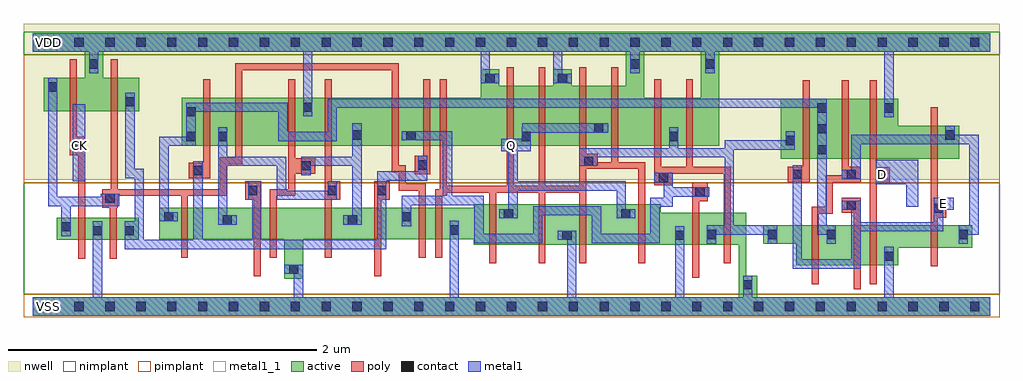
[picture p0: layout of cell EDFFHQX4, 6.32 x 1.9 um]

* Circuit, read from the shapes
.subckt EDFFHQX4 CK D E Q VDD VSS
M1 VSS CK n1 VSS nfet w=0.145u l=0.045u
M2 n2 n1 VSS VSS nfet w=0.145u l=0.045u
M3 n3 n1 n4 VSS nfet w=0.205u l=0.045u
M4 n5 n2 n3 VSS nfet w=0.205u l=0.045u
M5 VSS n6 n5 VSS nfet w=0.205u l=0.045u
M6 n6 n3 VSS VSS nfet w=0.205u l=0.045u
M7 n7 n2 n6 VSS nfet w=0.205u l=0.045u
M8 n8 n1 n7 VSS nfet w=0.205u l=0.045u
M9 VSS n9 n8 VSS nfet w=0.205u l=0.045u
M10 Q n9 VSS VSS nfet w=0.26u l=0.045u m=4
M11 n9 n7 VSS VSS nfet w=0.205u l=0.045u m=2
M12 n4 n10 n9 VSS nfet w=0.26u l=0.045u
M13 n11 E n4 VSS nfet w=0.26u l=0.045u
M14 VSS D n11 VSS nfet w=0.26u l=0.045u
M15 n10 E VSS VSS nfet w=0.145u l=0.045u
M16 VDD CK n1 VDD pfet w=0.215u l=0.045u
M17 n2 n1 VDD VDD pfet w=0.215u l=0.045u
M18 n3 n2 n4 VDD pfet w=0.31u l=0.045u
M19 n12 n1 n3 VDD pfet w=0.31u l=0.045u
M20 VDD n6 n12 VDD pfet w=0.31u l=0.045u
M21 n6 n3 VDD VDD pfet w=0.31u l=0.045u
M22 n7 n1 n6 VDD pfet w=0.31u l=0.045u
M23 n13 n2 n7 VDD pfet w=0.31u l=0.045u
M24 VDD n9 n13 VDD pfet w=0.31u l=0.045u
M25 Q n9 VDD VDD pfet w=0.39u l=0.045u m=4
M26 n9 n7 VDD VDD pfet w=0.31u l=0.045u m=2
M27 n4 E n9 VDD pfet w=0.39u l=0.045u
M28 n14 n10 n4 VDD pfet w=0.39u l=0.045u
M29 VDD D n14 VDD pfet w=0.39u l=0.045u
M30 n10 E VDD VDD pfet w=0.215u l=0.045u
.ends

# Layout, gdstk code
import gdstk
lib = gdstk.Library(unit=1e-6, precision=5e-10)
def R(c, l, rs):  # rectangles x0, y0, x1, y1
    for r in rs: c.add(gdstk.rectangle(r[:2], r[2:], *l))
def A(c, l, x, y, w, h, nx, ny, dx, dy):  # array of equal rectangles
    R(c, l, [(x+i*dx, y+j*dy, x+i*dx+w, y+j*dy+h) for i in range(nx) for j in range(ny)])
def P(c, l, *ps):  # polygons
    for p in ps: c.add(gdstk.Polygon(p, *l))
active = (1, 0)
nwell = (2, 0)
poly = (3, 0)
nimplant = (4, 0)
pimplant = (5, 0)
contact = (6, 0)
metal1 = (7, 0)
metal1_1 = (7, 1)

edffhqx4 = lib.new_cell('EDFFHQX4')
R(edffhqx4, active, [(0.155,0.43,0.685,0.575)])
P(edffhqx4, active, [(0,1.77),(6.2,1.77),(6.2,1.65),(4.445,1.65),(4.445,1.04),(0.965,1.04),(0.965,1.35),(2.9,1.35),(2.9,1.535),(3.02,1.535),(3.02,1.43),(3.37,1.43),(3.37,1.535),(3.49,1.535),(3.49,1.43),(3.84,1.43),(3.84,1.65),(3.96,1.65),(3.96,1.35),(4.325,1.35),(4.325,1.65),(0.455,1.65),(0.455,1.48),(0.69,1.48),(0.69,1.265),(0.07,1.265),(0.07,1.48),(0.335,1.48),(0.335,1.65),(0,1.65)],
  [(4.845,1.345),(5.605,1.345),(5.605,1.17),(6,1.17),(6,0.955),(4.845,0.955)],
  [(2.855,0.66),(4.065,0.66),(4.065,0.605),(4.62,0.605),(4.62,0.2),(4.69,0.2),(4.69,0.06),(6.2,0.06),(6.2,-0.06),(0,-0.06),(0,0.06),(4.57,0.06),(4.57,0.4),(2.855,0.4),(2.855,0.435),(1.75,0.435),(1.75,0.18),(1.63,0.18),(1.63,0.435),(0.82,0.435),(0.82,0.64),(2.855,0.64)],
  [(4.73,0.525),(6.085,0.525),(6.085,0.38),(5.605,0.38),(5.605,0.265),(4.945,0.265),(4.945,0.405),(4.73,0.405)])
R(edffhqx4, nwell, [(-0.06,0.82,6.26,1.83)])
P(edffhqx4, poly, [(0.505,1.6),(0.55,1.6),(0.55,0.76),(1.21,0.76),(1.21,0.965),(1.31,0.965),(1.31,1.575),(2.37,1.575),(2.37,0.915),(2.415,0.915),(2.415,0.795),(2.545,0.795),(2.545,0.315),(2.5,0.315),(2.5,0.75),(2.37,0.75),(2.37,0.87),(2.325,0.87),(2.325,1.53),(1.355,1.53),(1.355,0.92),(1.255,0.92),(1.255,0.715),(1.005,0.715),(1.005,0.315),(0.96,0.315),(0.96,0.715),(0.55,0.715),(0.55,0.64),(0.545,0.64),(0.545,0.31),(0.5,0.31),(0.5,0.64),(0.45,0.64),(0.45,0.76),(0.505,0.76)],
  [(0.24,1.6),(0.285,1.6),(0.285,1.1),(0.34,1.1),(0.34,0.31),(0.295,0.31),(0.295,0.98),(0.24,0.98)],
  [(1.105,1.47),(1.15,1.47),(1.15,0.83),(1.01,0.83),(1.01,0.93),(1.105,0.93)],
  [(1.655,1.47),(1.7,1.47),(1.7,0.96),(1.83,0.96),(1.83,0.86),(1.7,0.86),(1.7,0.715),(1.58,0.715),(1.58,0.315),(1.535,0.315),(1.535,0.76),(1.655,0.76)],
  [(1.89,1.47),(1.935,1.47),(1.935,0.81),(1.99,0.81),(1.99,0.69),(1.935,0.69),(1.935,0.315),(1.89,0.315)],
  [(2.53,1.47),(2.575,1.47),(2.575,0.855),(2.475,0.855),(2.475,0.975),(2.53,0.975)],
  [(2.635,1.47),(2.68,1.47),(2.68,0.78),(3.07,0.78),(3.07,1.55),(3.115,1.55),(3.115,0.78),(3.275,0.78),(3.275,1.55),(3.32,1.55),(3.32,0.78),(3.54,0.78),(3.54,1.55),(3.585,1.55),(3.585,0.99),(3.66,0.99),(3.66,0.935),(3.745,0.935),(3.745,1.55),(3.79,1.55),(3.79,0.935),(3.965,0.935),(3.965,0.28),(3.92,0.28),(3.92,0.89),(3.585,0.89),(3.585,0.28),(3.54,0.28),(3.54,0.735),(3.32,0.735),(3.32,0.28),(3.275,0.28),(3.275,0.735),(3,0.735),(3,0.28),(2.955,0.28),(2.955,0.735),(2.68,0.735),(2.68,0.715),(2.65,0.715),(2.65,0.315),(2.605,0.315),(2.605,0.76),(2.635,0.76)],
  [(4.025,1.47),(4.07,1.47),(4.07,0.905),(4.23,0.905),(4.23,1.47),(4.275,1.47),(4.275,0.905),(4.52,0.905),(4.52,0.28),(4.475,0.28),(4.475,0.86),(4.145,0.86),(4.145,0.785),(4.025,0.785)],
  [(4.985,1.465),(5.03,1.465),(5.03,0.805),(4.89,0.805),(4.89,0.905),(4.985,0.905)],
  [(5.24,1.465),(5.285,1.465),(5.285,0.905),(5.36,0.905),(5.36,0.805),(5.18,0.805),(5.18,0.6),(5.09,0.6),(5.09,0.145),(5.045,0.145),(5.045,0.645),(5.135,0.645),(5.135,0.85),(5.24,0.85)],
  [(5.42,1.465),(5.465,1.465),(5.465,0.9),(5.55,0.9),(5.55,0.8),(5.465,0.8),(5.465,0.145),(5.42,0.145)],
  [(5.815,1.29),(5.86,1.29),(5.86,0.695),(5.915,0.695),(5.915,0.575),(5.86,0.575),(5.86,0.26),(5.815,0.26)],
  [(1.375,0.81),(1.475,0.81),(1.475,0.195),(1.43,0.195),(1.43,0.69),(1.375,0.69)],
  [(2.21,0.81),(2.31,0.81),(2.31,0.69),(2.255,0.69),(2.255,0.195),(2.21,0.195)],
  [(4.27,0.8),(4.37,0.8),(4.37,0.68),(4.315,0.68),(4.315,0.185),(4.27,0.185)],
  [(5.24,0.705),(5.36,0.705),(5.36,0.11),(5.315,0.11),(5.315,0.605),(5.24,0.605)])
R(edffhqx4, nimplant, [(-0.06,0.08,6.26,0.8), (-0.06,1.63,6.26,1.78)])
R(edffhqx4, pimplant, [(-0.06,-0.07,6.26,0.08), (-0.06,0.8,6.26,1.63)])
A(edffhqx4, contact, 0.07, -0.03, 0.06, 0.06, 31, 2, 0.2, 1.71)
A(edffhqx4, contact, 5.08, 0.985, 0.06, 0.06, 1, 3, 0, 0.135)
R(edffhqx4, contact, [(4.6,0.11,4.66,0.17), (1.66,0.21,1.72,0.27), (5.515,0.295,5.575,0.355), (3.43,0.43,3.49,0.49), (4.16,0.43,4.22,0.49), (4.365,0.435,4.425,0.495), (4.76,0.435,4.82,0.495), (5.14,0.435,5.2,0.495), (5.995,0.435,6.055,0.495), (0.39,0.46,0.45,0.52), (0.595,0.46,0.655,0.52), (2.7,0.465,2.76,0.525), (0.185,0.485,0.245,0.545), (1.23,0.53,1.29,0.59), (2.04,0.53,2.1,0.59), (0.85,0.55,0.91,0.61), (2.39,0.55,2.45,0.61), (3.05,0.57,3.11,0.63), (3.81,0.57,3.87,0.63), (5.835,0.605,5.895,0.665), (5.27,0.625,5.33,0.685), (0.47,0.67,0.53,0.73), (4.29,0.71,4.35,0.77), (1.395,0.72,1.455,0.78), (1.91,0.72,1.97,0.78), (2.23,0.72,2.29,0.78), (4.055,0.805,4.115,0.865), (5.46,0.82,5.52,0.88), (4.92,0.825,4.98,0.885), (5.27,0.825,5.33,0.885), (1.04,0.85,1.1,0.91), (1.74,0.88,1.8,0.94), (2.495,0.885,2.555,0.945), (3.57,0.91,3.63,0.97), (0.26,1.01,0.32,1.07), (4.875,1.045,4.935,1.105), (0.995,1.07,1.055,1.13), (1.2,1.07,1.26,1.13), (3.165,1.07,3.225,1.13), (4.12,1.07,4.18,1.13), (2.42,1.075,2.48,1.135), (2.07,1.08,2.13,1.14), (5.91,1.08,5.97,1.14), (3.635,1.125,3.695,1.185), (0.995,1.23,1.055,1.29), (5.515,1.255,5.575,1.315), (1.75,1.26,1.81,1.32), (0.6,1.295,0.66,1.355), (0.1,1.39,0.16,1.45), (2.93,1.445,2.99,1.505), (3.4,1.445,3.46,1.505), (0.365,1.54,0.425,1.6), (3.87,1.54,3.93,1.6), (4.355,1.54,4.415,1.6)])
R(edffhqx4, metal1, [(0.26,0.81,0.34,1.31)])
P(edffhqx4, metal1, [(0,1.77),(6.2,1.77),(6.2,1.65),(5.575,1.65),(5.575,1.225),(5.515,1.225),(5.515,1.65),(4.415,1.65),(4.415,1.51),(4.355,1.51),(4.355,1.65),(3.93,1.65),(3.93,1.51),(3.87,1.51),(3.87,1.65),(3.43,1.65),(3.43,1.505),(3.49,1.505),(3.49,1.445),(3.37,1.445),(3.37,1.65),(2.96,1.65),(2.96,1.505),(3.02,1.505),(3.02,1.445),(2.9,1.445),(2.9,1.65),(1.81,1.65),(1.81,1.23),(1.75,1.23),(1.75,1.65),(0.425,1.65),(0.425,1.51),(0.365,1.51),(0.365,1.65),(0,1.65)],
  [(0.995,1.32),(1.65,1.32),(1.65,1.13),(1.91,1.13),(1.91,1.345),(5.14,1.345),(5.14,0.525),(5.2,0.525),(5.2,0.405),(5.14,0.405),(5.14,0.465),(5.08,0.465),(5.08,1.285),(1.97,1.285),(1.97,1.07),(1.59,1.07),(1.59,1.26),(1.055,1.26),(1.055,1.04),(0.88,1.04),(0.88,0.61),(0.94,0.61),(0.94,0.55),(0.82,0.55),(0.82,1.1),(0.995,1.1)],
  [(0.1,1.48),(0.16,1.48),(0.16,0.71),(0.44,0.71),(0.44,0.73),(0.56,0.73),(0.56,0.65),(0.245,0.65),(0.245,0.455),(0.185,0.455),(0.185,0.65),(0.1,0.65)],
  [(0.6,1.385),(0.66,1.385),(0.66,0.89),(0.72,0.89),(0.72,0.43),(1.04,0.43),(1.04,0.94),(1.1,0.94),(1.1,0.43),(1.42,0.43),(1.42,0.69),(1.395,0.69),(1.395,0.81),(1.48,0.81),(1.48,0.43),(2.23,0.43),(2.23,0.875),(2.495,0.875),(2.495,0.975),(2.555,0.975),(2.555,0.815),(2.29,0.815),(2.29,0.37),(0.595,0.37),(0.595,0.55),(0.66,0.55),(0.66,0.83),(0.6,0.83)],
  [(1.2,1.16),(1.26,1.16),(1.26,0.97),(1.64,0.97),(1.64,0.75),(1.91,0.75),(1.91,0.81),(1.97,0.81),(1.97,0.69),(1.58,0.69),(1.58,0.91),(1.26,0.91),(1.26,0.59),(1.32,0.59),(1.32,0.53),(1.2,0.53)],
  [(2.07,1.185),(2.13,1.185),(2.13,0.53),(2.01,0.53),(2.01,0.59),(2.07,0.59),(2.07,0.91),(1.8,0.91),(1.8,0.85),(1.74,0.85),(1.74,0.97),(2.07,0.97)],
  [(4.12,1.16),(4.18,1.16),(4.18,1.025),(4.48,1.025),(4.48,1.075),(4.875,1.075),(4.875,1.135),(4.935,1.135),(4.935,1.015),(4.54,1.015),(4.54,0.525),(4.82,0.525),(4.82,0.405),(4.76,0.405),(4.76,0.465),(4.425,0.465),(4.425,0.405),(4.365,0.405),(4.365,0.525),(4.48,0.525),(4.48,0.965),(3.66,0.965),(3.66,0.91),(3.54,0.91),(3.54,1.025),(4.12,1.025)],
  [(2.39,1.135),(2.715,1.135),(2.715,0.715),(2.92,0.715),(2.92,0.47),(3.24,0.47),(3.24,0.65),(3.68,0.65),(3.68,0.47),(4,0.47),(4,0.705),(4.085,0.705),(4.085,0.805),(4.025,0.805),(4.025,0.865),(4.145,0.865),(4.145,0.77),(4.38,0.77),(4.38,0.71),(4.145,0.71),(4.145,0.645),(4.06,0.645),(4.06,0.41),(3.62,0.41),(3.62,0.59),(3.3,0.59),(3.3,0.41),(2.86,0.41),(2.86,0.655),(2.45,0.655),(2.45,0.52),(2.39,0.52),(2.39,0.715),(2.655,0.715),(2.655,1.075),(2.39,1.075)],
  [(3.17,1.185),(3.725,1.185),(3.725,1.125),(3.225,1.125),(3.225,1.005),(3.14,1.005),(3.14,0.81),(3.84,0.81),(3.84,0.63),(3.9,0.63),(3.9,0.57),(3.78,0.57),(3.78,0.75),(3.14,0.75),(3.14,0.57),(3.02,0.57),(3.02,0.63),(3.08,0.63),(3.08,1.005),(3.035,1.005),(3.035,1.085),(3.165,1.085),(3.165,1.16),(3.17,1.16)],
  [(0.39,0.55),(0.45,0.55),(0.45,0.06),(1.69,0.06),(1.69,0.21),(1.63,0.21),(1.63,0.27),(1.75,0.27),(1.75,0.06),(2.7,0.06),(2.7,0.555),(2.76,0.555),(2.76,0.06),(3.46,0.06),(3.46,0.43),(3.4,0.43),(3.4,0.49),(3.52,0.49),(3.52,0.06),(4.16,0.06),(4.16,0.52),(4.22,0.52),(4.22,0.06),(4.6,0.06),(4.6,0.2),(4.66,0.2),(4.66,0.06),(5.515,0.06),(5.515,0.385),(5.575,0.385),(5.575,0.06),(6.2,0.06),(6.2,-0.06),(0,-0.06),(0,0.06),(0.39,0.06)],
  [(5.91,1.17),(5.97,1.17),(5.97,1.11),(6.125,1.11),(6.125,0.465),(6.055,0.465),(6.055,0.405),(5.995,0.405),(5.995,0.525),(6.065,0.525),(6.065,1.05),(5.36,1.05),(5.36,0.825),(5.24,0.825),(5.24,0.885),(5.3,0.885),(5.3,1.11),(5.91,1.11)],
  [(4.92,0.915),(4.98,0.915),(4.98,0.305),(5.3,0.305),(5.3,0.625),(5.24,0.625),(5.24,0.685),(5.36,0.685),(5.36,0.545),(5.835,0.545),(5.835,0.705),(5.965,0.705),(5.965,0.625),(5.895,0.625),(5.895,0.485),(5.36,0.485),(5.36,0.245),(4.92,0.245)],
  [(5.46,0.95),(5.735,0.95),(5.735,0.645),(5.655,0.645),(5.655,0.79),(5.46,0.79)])
R(edffhqx4, metal1_1, [(0.06,-0.04,0.14,0.04), (5.86,0.625,5.94,0.705), (5.46,0.815,5.54,0.895), (0.26,1.005,0.34,1.085), (3.06,1.005,3.14,1.085), (0.06,1.67,0.14,1.75)])
edffhqx4.add(gdstk.Label('Q', (3.1,1.045), layer=7, texttype=1))
edffhqx4.add(gdstk.Label('E', (5.9,0.665), layer=7, texttype=1))
edffhqx4.add(gdstk.Label('D', (5.5,0.855), layer=7, texttype=1))
edffhqx4.add(gdstk.Label('CK', (0.3,1.045), layer=7, texttype=1))
edffhqx4.add(gdstk.Label('VDD', (0.1,1.71), layer=7, texttype=1))
edffhqx4.add(gdstk.Label('VSS', (0.1,0), layer=7, texttype=1))
edffhqx4.add(gdstk.Label('EDFFHQX4', (0,0), layer=63, texttype=0))

lib.write_gds('EDFFHQX4.gds')
